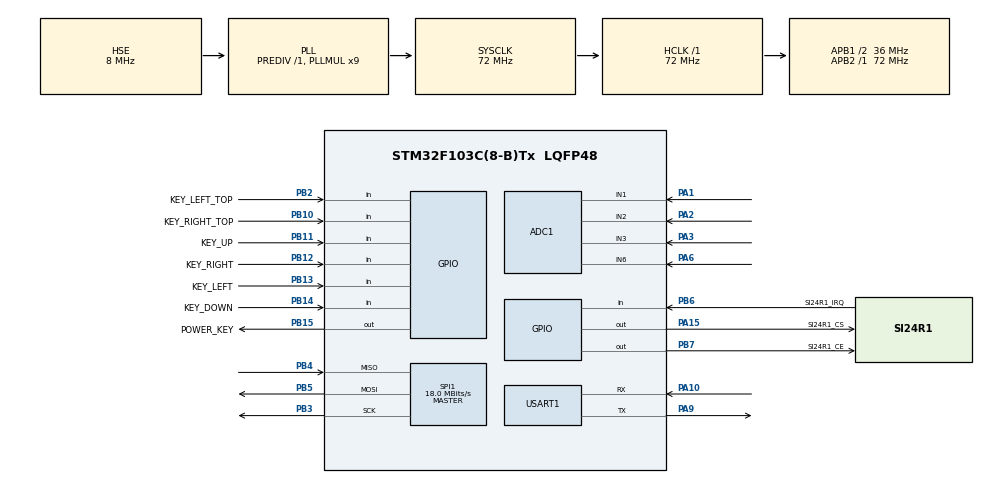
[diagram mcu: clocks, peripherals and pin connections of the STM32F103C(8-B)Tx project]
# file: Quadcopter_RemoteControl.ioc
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ADC1.Channel-0\#ChannelRegularConversion=ADC_CHANNEL_1
ADC1.Channel-1\#ChannelRegularConversion=ADC_CHANNEL_6
ADC1.Channel-2\#ChannelRegularConversion=ADC_CHANNEL_2
ADC1.Channel-3\#ChannelRegularConversion=ADC_CHANNEL_3
ADC1.ContinuousConvMode=ENABLE
ADC1.NbrOfConversion=4
ADC1.NbrOfConversionFlag=1
ADC1.Rank-0\#ChannelRegularConversion=1
ADC1.Rank-1\#ChannelRegularConversion=2
ADC1.Rank-2\#ChannelRegularConversion=3
ADC1.Rank-3\#ChannelRegularConversion=4
ADC1.SamplingTime-0\#ChannelRegularConversion=ADC_SAMPLETIME_13CYCLES_5
ADC1.SamplingTime-1\#ChannelRegularConversion=ADC_SAMPLETIME_13CYCLES_5
ADC1.SamplingTime-2\#ChannelRegularConversion=ADC_SAMPLETIME_13CYCLES_5
ADC1.SamplingTime-3\#ChannelRegularConversion=ADC_SAMPLETIME_13CYCLES_5
ADC1.master=1
Dma.ADC1.0.Direction=DMA_PERIPH_TO_MEMORY
Dma.ADC1.0.Instance=DMA1_Channel1
Dma.ADC1.0.MemDataAlignment=DMA_MDATAALIGN_HALFWORD
Dma.ADC1.0.MemInc=DMA_MINC_ENABLE
Dma.ADC1.0.Mode=DMA_CIRCULAR
Dma.ADC1.0.PeriphDataAlignment=DMA_PDATAALIGN_HALFWORD
Dma.ADC1.0.PeriphInc=DMA_PINC_DISABLE
Dma.ADC1.0.Priority=DMA_PRIORITY_LOW
Dma.Request0=ADC1
FREERTOS.Tasks01=defaultTask,24,128,StartDefaultTask,Default,NULL,Dynamic,NULL,NULL
FREERTOS.configTOTAL_HEAP_SIZE=12*1024
Mcu.Family=STM32F1
Mcu.Name=STM32F103C(8-B)Tx
Mcu.Package=LQFP48
NVIC.PriorityGroup=NVIC_PRIORITYGROUP_4
PA1.Signal=ADCx_IN1
PA10.Mode=Asynchronous
PA10.Signal=USART1_RX
PA13.Mode=Serial_Wire
PA13.Signal=SYS_JTMS-SWDIO
PA14.Mode=Serial_Wire
PA14.Signal=SYS_JTCK-SWCLK
PA15.GPIO_Label=SI24R1_CS
PA15.GPIO_ModeDefaultOutputPP=GPIO_MODE_OUTPUT_PP
PA15.GPIO_PuPd=GPIO_NOPULL
PA15.PinState=GPIO_PIN_SET
PA15.Signal=GPIO_Output
PA2.Signal=ADCx_IN2
PA3.Signal=ADCx_IN3
PA6.Signal=ADCx_IN6
PA9.Mode=Asynchronous
PA9.Signal=USART1_TX
PB10.GPIO_Label=KEY_RIGHT_TOP
PB10.GPIO_PuPd=GPIO_PULLUP
PB10.Signal=GPIO_Input
PB11.GPIO_Label=KEY_UP
PB11.GPIO_PuPd=GPIO_PULLUP
PB11.Signal=GPIO_Input
PB12.GPIO_Label=KEY_RIGHT
PB12.GPIO_PuPd=GPIO_PULLUP
PB12.Signal=GPIO_Input
PB13.GPIO_Label=KEY_LEFT
PB13.GPIO_PuPd=GPIO_PULLUP
PB13.Signal=GPIO_Input
PB14.GPIO_Label=KEY_DOWN
PB14.GPIO_PuPd=GPIO_PULLUP
PB14.Signal=GPIO_Input
PB15.GPIO_Label=POWER_KEY
PB15.GPIO_ModeDefaultOutputPP=GPIO_MODE_OUTPUT_OD
PB15.GPIO_PuPd=GPIO_NOPULL
PB15.PinState=GPIO_PIN_SET
PB15.Signal=GPIO_Output
PB2.GPIO_Label=KEY_LEFT_TOP
PB2.GPIO_PuPd=GPIO_PULLUP
PB2.Signal=GPIO_Input
PB3.Mode=Full_Duplex_Master
PB3.Signal=SPI1_SCK
PB4.Mode=Full_Duplex_Master
PB4.Signal=SPI1_MISO
PB5.Mode=Full_Duplex_Master
PB5.Signal=SPI1_MOSI
PB6.GPIO_Label=SI24R1_IRQ
PB6.GPIO_PuPd=GPIO_PULLUP
PB6.Signal=GPIO_Input
PB7.GPIO_Label=SI24R1_CE
PB7.PinState=GPIO_PIN_SET
PB7.Signal=GPIO_Output
PC14-OSC32_IN.Mode=LSE-External-Oscillator
PC14-OSC32_IN.Signal=RCC_OSC32_IN
PC15-OSC32_OUT.Mode=LSE-External-Oscillator
PC15-OSC32_OUT.Signal=RCC_OSC32_OUT
PD0-OSC_IN.Mode=HSE-External-Oscillator
PD0-OSC_IN.Signal=RCC_OSC_IN
PD1-OSC_OUT.Mode=HSE-External-Oscillator
PD1-OSC_OUT.Signal=RCC_OSC_OUT
ProjectManager.HeapSize=0x200
ProjectManager.StackSize=0x800
ProjectManager.TargetToolchain=CMake
RCC.ADCPresc=RCC_ADCPCLK2_DIV6
RCC.AHBFreq_Value=72000000
RCC.APB1CLKDivider=RCC_HCLK_DIV2
RCC.APB1Freq_Value=36000000
RCC.APB1TimFreq_Value=72000000
RCC.APB2Freq_Value=72000000
RCC.APB2TimFreq_Value=72000000
RCC.HCLKFreq_Value=72000000
RCC.PLLMUL=RCC_PLL_MUL9
RCC.PLLSourceVirtual=RCC_PLLSOURCE_HSE
RCC.SYSCLKFreq_VALUE=72000000
RCC.SYSCLKSource=RCC_SYSCLKSOURCE_PLLCLK
RCC.USBFreq_Value=72000000
SH.ADCx_IN1.0=ADC1_IN1,IN1
SH.ADCx_IN2.0=ADC1_IN2,IN2
SH.ADCx_IN3.0=ADC1_IN3,IN3
SH.ADCx_IN6.0=ADC1_IN6,IN6
SPI1.BaudRatePrescaler=SPI_BAUDRATEPRESCALER_4
SPI1.CalculateBaudRate=18.0 MBits/s
SPI1.Direction=SPI_DIRECTION_2LINES
SPI1.Mode=SPI_MODE_MASTER
SPI1.VirtualType=VM_MASTER
USART1.VirtualMode=VM_ASYNC
VP_FREERTOS_VS_CMSIS_V2.Mode=CMSIS_V2
board=custom

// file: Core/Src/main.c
/* USER CODE BEGIN Header */
/**
  ******************************************************************************
  * @file           : main.c
  * @brief          : Main program body
  ******************************************************************************
  * @attention
  *
  * Copyright (c) 2025 STMicroelectronics.
  * All rights reserved.
  *
  * This software is licensed under terms that can be found in the LICENSE file
  * in the root directory of this software component.
  * If no LICENSE file comes with this software, it is provided AS-IS.
  *
  ******************************************************************************
  */
/* USER CODE END Header */
#include "main.h"
#include "cmsis_os.h"
#include "adc.h"
#include "dma.h"
#include "spi.h"
#include "usart.h"
#include "gpio.h"

/* USER CODE BEGIN Includes */
#include "Com_Debug.h"
#include "Inf_SI24R1.h"
/* USER CODE END Includes */

void SystemClock_Config(void);
void MX_FREERTOS_Init(void);

int main(void)
{

  /* MCU Configuration--------------------------------------------------------*/

  /* Reset of all peripherals, Initializes the Flash interface and the Systick. */
  HAL_Init();

  /* Configure the system clock */
  SystemClock_Config();

  /* Initialize all configured peripherals */
  MX_GPIO_Init();
  MX_DMA_Init();
  MX_SPI1_Init();
  MX_USART1_UART_Init();
  MX_ADC1_Init();

  /* Init scheduler */
  osKernelInitialize();

  /* Call init function for freertos objects (in cmsis_os2.c) */
  MX_FREERTOS_Init();

  /* Start scheduler */
  osKernelStart();

  /* We should never get here as control is now taken by the scheduler */

  /* Infinite loop */
  while (1)
  {

  }
}

void SystemClock_Config(void)
{
  RCC_OscInitTypeDef RCC_OscInitStruct = {0};
  RCC_ClkInitTypeDef RCC_ClkInitStruct = {0};
  RCC_PeriphCLKInitTypeDef PeriphClkInit = {0};

  /** Initializes the RCC Oscillators according to the specified parameters
  * in the RCC_OscInitTypeDef structure.
  */
  RCC_OscInitStruct.OscillatorType = RCC_OSCILLATORTYPE_HSE;
  RCC_OscInitStruct.HSEState = RCC_HSE_ON;
  RCC_OscInitStruct.HSEPredivValue = RCC_HSE_PREDIV_DIV1;
  RCC_OscInitStruct.HSIState = RCC_HSI_ON;
  RCC_OscInitStruct.PLL.PLLState = RCC_PLL_ON;
  RCC_OscInitStruct.PLL.PLLSource = RCC_PLLSOURCE_HSE;
  RCC_OscInitStruct.PLL.PLLMUL = RCC_PLL_MUL9;
  if (HAL_RCC_OscConfig(&RCC_OscInitStruct) != HAL_OK)
  {
    Error_Handler();
  }

  /** Initializes the CPU, AHB and APB buses clocks
  */
  RCC_ClkInitStruct.ClockType = RCC_CLOCKTYPE_HCLK|RCC_CLOCKTYPE_SYSCLK
                              |RCC_CLOCKTYPE_PCLK1|RCC_CLOCKTYPE_PCLK2;
  RCC_ClkInitStruct.SYSCLKSource = RCC_SYSCLKSOURCE_PLLCLK;
  RCC_ClkInitStruct.AHBCLKDivider = RCC_SYSCLK_DIV1;
  RCC_ClkInitStruct.APB1CLKDivider = RCC_HCLK_DIV2;
  RCC_ClkInitStruct.APB2CLKDivider = RCC_HCLK_DIV1;

  if (HAL_RCC_ClockConfig(&RCC_ClkInitStruct, FLASH_LATENCY_2) != HAL_OK)
  {
    Error_Handler();
  }
  PeriphClkInit.PeriphClockSelection = RCC_PERIPHCLK_ADC;
  PeriphClkInit.AdcClockSelection = RCC_ADCPCLK2_DIV6;
  if (HAL_RCCEx_PeriphCLKConfig(&PeriphClkInit) != HAL_OK)
  {
    Error_Handler();
  }
}

void Error_Handler(void)
{
  __disable_irq();
  while (1)
  {
  }
}

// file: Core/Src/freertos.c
/* USER CODE BEGIN Header */
/**
  ******************************************************************************
  * File Name          : freertos.c
  * Description        : Code for freertos applications
  ******************************************************************************
  * @attention
  *
  * Copyright (c) 2025 STMicroelectronics.
  * All rights reserved.
  *
  * This software is licensed under terms that can be found in the LICENSE file
  * in the root directory of this software component.
  * If no LICENSE file comes with this software, it is provided AS-IS.
  *
  ******************************************************************************
  */
/* USER CODE END Header */

#include "FreeRTOS.h"
#include "task.h"
#include "main.h"
#include "cmsis_os.h"

/* USER CODE BEGIN Includes */
#include "Com_Debug.h"
#include "Com_Config.h"
#include "Inf_IP5305T.h"
#include "Inf_SI24R1.h"
#include "Inf_JoyStick_Key.h"
#include "App_Communication.h"
#include "App_DataProcess.h"
/* USER CODE END Includes */

/* USER CODE BEGIN PD */
void startTask(void *args);
#define START_TASK_NAME "start_task"
#define START_TASK_STACK 128
#define START_TASK_PRIORITY 10
TaskHandle_t startTaskHandle;

/* 电源管理任务 */
void powerTask(void *args);
#define POWER_TASK_NAME "power_task"
#define POWER_TASK_STACK 128
#define POWER_TASK_PRIORITY 9
TaskHandle_t powerTaskHandle;
#define POWER_CYCLE (10*1000) // 10s

/* 通信任务，接收遥控器数据 */
void communicationTask(void *args);
#define COMMUNICATION_TASK_NAME "communication_task"
#define COMMUNICATION_TASK_STACK 256
#define COMMUNICATION_TASK_PRIORITY 8
TaskHandle_t communicationTaskHandle;
#define COMMUNICATION_CYCLE 8

/* 按键扫描任务 */
void keyTask(void *args);
#define KEY_TASK_NAME "key_task"
#define KEY_TASK_STACK 256
#define KEY_TASK_PRIORITY 7
TaskHandle_t keyTaskHandle;
#define KEY_CYCLE 40

/* 摇杆扫描任务 */
void joyStickTask(void *args);
#define JOYSTICK_TASK_NAME "joyStick_task"
#define JOYSTICK_TASK_STACK 256
#define JOYSTICK_TASK_PRIORITY 7
TaskHandle_t joyStickTaskHandle;
#define JOYSTICK_CYCLE 4
/* USER CODE END PD */

/* Definitions for defaultTask */
osThreadId_t defaultTaskHandle;
const osThreadAttr_t defaultTask_attributes = {
  .name = "defaultTask",
  .stack_size = 128 * 4,
  .priority = (osPriority_t) osPriorityNormal,
};

void StartDefaultTask(void *argument);

void MX_FREERTOS_Init(void); /* (MISRA C 2004 rule 8.1) */

void MX_FREERTOS_Init(void) {
  /* USER CODE BEGIN Init */
  App_Communication_Start();
  App_DataProcess_Start();
  /* USER CODE END Init */

  /* Create the thread(s) */
  /* creation of defaultTask */
  //defaultTaskHandle = osThreadNew(StartDefaultTask, NULL, &defaultTask_attributes);

  /* USER CODE BEGIN RTOS_THREADS */
  /* add threads, ... */
  debug_printfln("start create start task");

  BaseType_t r = xTaskCreate(
      startTask,
      START_TASK_NAME,
      START_TASK_STACK,
      NULL,
      START_TASK_PRIORITY,
      &startTaskHandle
  );
  if (r != pdPASS) {
      debug_printfln("Failed to create start task");
  }
  /* USER CODE END RTOS_THREADS */

}

void StartDefaultTask(void *argument)
{
  for(;;)
  {
    osDelay(1);
  }
}

/* USER CODE BEGIN Application */
void startTask(void *args){
  debug_printfln("Start task started");
  /* 创建电源任务 */
  xTaskCreate(
      powerTask,
      POWER_TASK_NAME,
      POWER_TASK_STACK,
      NULL,
      POWER_TASK_PRIORITY,
      &powerTaskHandle
  );

  /* 创建通信任务 */
  xTaskCreate(
      communicationTask,
      COMMUNICATION_TASK_NAME,
      COMMUNICATION_TASK_STACK,
      NULL,
      COMMUNICATION_TASK_PRIORITY,
      &communicationTaskHandle
  );

  /* 创建按键任务 */
  xTaskCreate(
      keyTask,
      KEY_TASK_NAME,
      KEY_TASK_STACK,
      NULL,
      KEY_TASK_PRIORITY,
      &keyTaskHandle
  );
  debug_printfln("Start task finished");

  xTaskCreate(
    joyStickTask,
    JOYSTICK_TASK_NAME,
    JOYSTICK_TASK_STACK,
    NULL,
    JOYSTICK_TASK_PRIORITY,
    &joyStickTaskHandle
  );

  vTaskDelete(NULL);
}

/* 电源管理任务 */
void powerTask(void *args){
  while (1)
  {
      /* 关机 */
      if (ulTaskNotifyTake(pdTRUE, POWER_CYCLE) == pdTRUE) {
          debug_printfln("Power off");
          Inf_IP5305T_Close();
      }else{
          /* 开机 */
          debug_printfln("Power on");
          Inf_IP5305T_Open();
      }
  }
}

/* 通信任务，接收遥控器数据 */
void communicationTask(void *args){
  vTaskDelay(1000);
  debug_printfln("Communication task started");

  uint32_t preTime = xTaskGetTickCount();
  while (1)
  {
    debug_printf("power: %d\n", joyStick.isPowerOff);
    /* 发送遥控器数据 */
    App_Communication_SendJoyStickData();

      /* 延时 */
    vTaskDelayUntil(&preTime, COMMUNICATION_CYCLE);
  }
}

void keyTask(void *args){
  debug_printfln("Key task started");

  uint32_t preTime = xTaskGetTickCount();
  while (1){
    debug_printf("key");
    App_DataProcess_KeyDataProcess();
    vTaskDelayUntil(&preTime, KEY_CYCLE);
  }
}

void joyStickTask(void *args){
  vTaskDelay(500);
  debug_printfln("JoyStick task started");

  uint32_t preTime = xTaskGetTickCount();
  while (1){
    debug_printfln("JoyStick task...");
    App_DataProcess_JoyStickDataProcess();
    vTaskDelayUntil(&preTime, JOYSTICK_CYCLE);
  }
}

/* USER CODE END Application */
